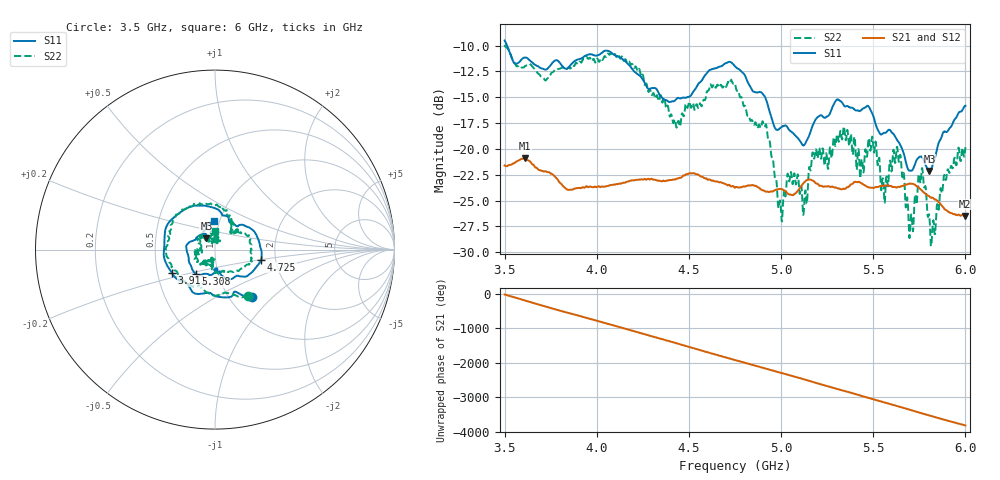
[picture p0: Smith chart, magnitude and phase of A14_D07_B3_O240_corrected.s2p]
! Created with skrf 1.9.0 (http://scikit-rf.org).
# Hz S RI R 50.0
!freq ReS11 ImS11 ReS21 ImS21 ReS12 ImS12 ReS22 ImS22
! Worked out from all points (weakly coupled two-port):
!   1601 points, 3.5 GHz to 6 GHz, reference 50 ohm
!   highest |S21| = -20.91 dB at 3.609 GHz (marker M1); lowest = -26.5 dB at 5.995 GHz (marker M2)
!   lowest |S11| = -22.1 dB at 5.805 GHz (marker M3), VSWR 1.17, Z = 45.1 + j5.61 ohm
!   |S11| at or under -10 dB: 3.514 GHz to end of sweep
!   |S22| runs from -29.4 to -9.9 dB; largest |S21 - S12| = 0.001
!   S11 on the Smith chart (normalised r, x): 3.5 GHz: 1.26, -0.76; 3.911 GHz: 0.60, -0.17; 4.725 GHz: 1.68, -0.20; 5.308 GHz: 0.78, -0.22; 6 GHz: 0.93, +0.31
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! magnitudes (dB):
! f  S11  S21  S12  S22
! 3.5 GHz  -9.5  -21.6  -21.6  -9.9
! 3.609 GHz  -11.1  -20.9  -20.9  -12.0
! 3.911 GHz  -11.3  -23.8  -23.8  -11.6
! 3.917 GHz  -11.2  -23.8  -23.7  -11.6
! 4.127 GHz  -11.1  -23.3  -23.3  -11.2
! 4.334 GHz  -14.5  -23.1  -23.0  -15.3
! 4.442 GHz  -15.1  -22.8  -22.8  -17.3
! 4.725 GHz  -11.6  -23.6  -23.5  -13.5
! 4.75 GHz  -12.0  -23.8  -23.7  -13.7
! 4.912 GHz  -14.9  -24.1  -24.1  -17.8
! 4.995 GHz  -18.0  -23.9  -23.8  -25.0
! 5.045 GHz  -18.2  -24.4  -24.4  -23.1
! 5.13 GHz  -19.5  -23.2  -23.2  -24.1
! 5.167 GHz  -17.9  -23.0  -23.0  -20.8
! 5.308 GHz  -15.2  -23.8  -23.8  -18.8
! 5.584 GHz  -18.1  -23.6  -23.5  -22.6
! 5.639 GHz  -19.4  -23.7  -23.7  -21.3
! 5.706 GHz  -22.1  -23.4  -23.4  -26.3
! 5.759 GHz  -20.7  -23.9  -23.9  -22.8
! 5.805 GHz  -22.1  -24.6  -24.6  -26.6
! 5.995 GHz  -15.9  -26.5  -26.4  -20.6
! 6 GHz  -15.8  -26.5  -26.4  -19.8
